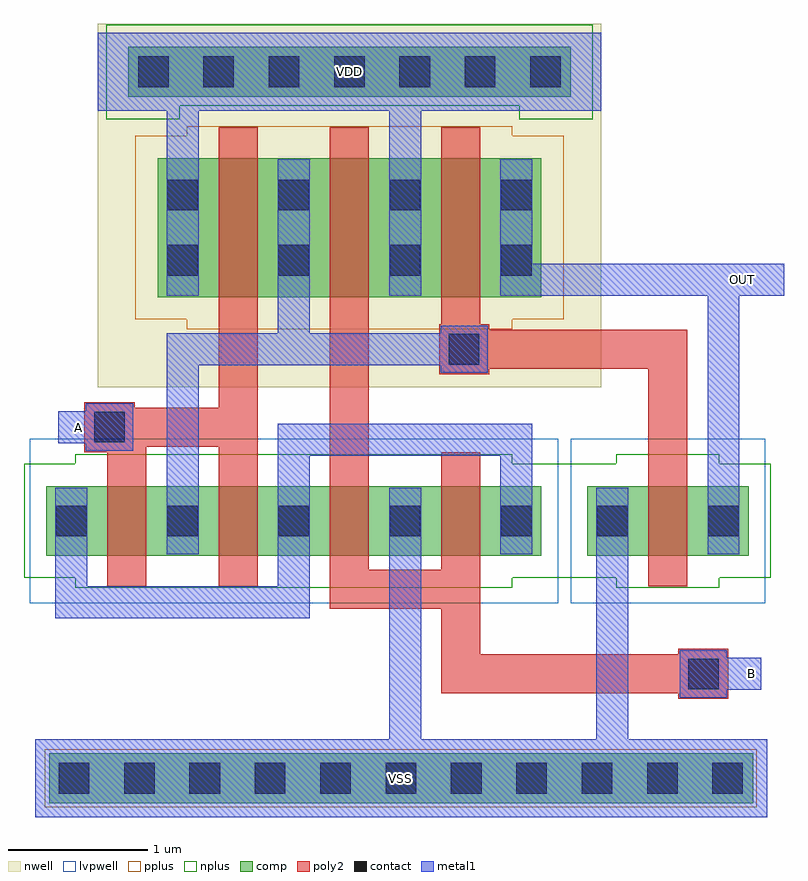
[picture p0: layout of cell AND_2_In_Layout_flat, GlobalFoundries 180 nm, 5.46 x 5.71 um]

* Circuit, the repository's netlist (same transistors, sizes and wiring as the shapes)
* NGSPICE file created from AND_2_In_Layout.ext - technology: gf180mcuC

.subckt nmos_3p3_GGGST2 a_n28_n94# a_n116_n50# a_28_n50# VSUBS
X0 a_28_n50# a_n28_n94# a_n116_n50# VSUBS nfet_03v3 ad=0.22p pd=1.88u as=0.22p ps=1.88u w=0.5u l=0.28u
.ends

.subckt pmos_3p3_MNVUAR w_n202_n230# a_28_n100# a_n28_n144# a_n116_n100#
X0 a_28_n100# a_n28_n144# a_n116_n100# w_n202_n230# pfet_03v3 ad=0.44p pd=2.88u as=0.44p ps=2.88u w=1u l=0.28u
.ends

.subckt nmos_3p3_BGGST2 a_n52_n50# a_n196_n50# a_52_n94# a_108_n50# a_n108_n94# VSUBS
X0 a_108_n50# a_52_n94# a_n52_n50# VSUBS nfet_03v3 ad=0.22p pd=1.88u as=0.13p ps=1.02u w=0.5u l=0.28u
X1 a_n52_n50# a_n108_n94# a_n196_n50# VSUBS nfet_03v3 ad=0.13p pd=1.02u as=0.22p ps=1.88u w=0.5u l=0.28u
.ends

**.subckt AND_2_In_Layout A B OUT VDD VSS
Xnmos_3p3_GGGST2_0 a_589_329# VSS OUT VSS nmos_3p3_GGGST2
Xpmos_3p3_MNVUAR_0 VDD OUT a_589_329# VDD pmos_3p3_MNVUAR
Xnmos_3p3_BGGST2_0 VSS m1_37_n22# B m1_37_n22# B VSS nmos_3p3_BGGST2
Xpmos_3p3_MNVUAR_1 VDD a_589_329# A VDD pmos_3p3_MNVUAR
Xnmos_3p3_BGGST2_1 a_589_329# m1_37_n22# A m1_37_n22# A VSS nmos_3p3_BGGST2
Xpmos_3p3_MNVUAR_2 VDD VDD B a_589_329# pmos_3p3_MNVUAR
**.ends

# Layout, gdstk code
import gdstk
lib = gdstk.Library(unit=1e-6, precision=1e-09)
def R(c, l, rs):  # rectangles x0, y0, x1, y1
    for r in rs: c.add(gdstk.rectangle(r[:2], r[2:], *l))
def A(c, l, x, y, w, h, nx, ny, dx, dy):  # array of equal rectangles
    R(c, l, [(x+i*dx, y+j*dy, x+i*dx+w, y+j*dy+h) for i in range(nx) for j in range(ny)])
nwell = (21, 0)
comp = (22, 0)
poly2 = (30, 0)
pplus = (31, 0)
nplus = (32, 0)
contact = (33, 0)
metal1 = (34, 0)
lvpwell = (204, 0)

and_2_in_layout_flat = lib.new_cell('AND_2_In_Layout_flat')
R(and_2_in_layout_flat, nwell, [(0.49,1.55,4.11,4.165)])
R(and_2_in_layout_flat, comp, [(0.14,-1.44,5.205,-1.08), (0.12,0.34,3.68,0.84), (4.01,0.34,5.17,0.84), (0.92,2.2,3.68,3.2), (0.71,3.64,3.89,4)])
R(and_2_in_layout_flat, poly2, [(4.665,-0.69,5.025,-0.65), (2.96,-0.65,5.025,-0.37), (2.96,-0.37,3.24,-0.04), (4.665,-0.37,5.025,-0.33), (2.16,-0.04,3.24,0.24), (0.56,0.12,0.84,1.085), (1.36,0.12,1.64,1.125), (4.45,0.12,4.73,1.685), (2.16,0.24,2.44,3.42), (2.96,0.24,3.24,1.085), (0.395,1.085,0.84,1.125), (0.395,1.125,1.64,1.405), (0.395,1.405,0.755,1.445), (1.36,1.405,1.64,3.42), (2.945,1.645,3.305,1.685), (2.945,1.685,4.73,1.965), (2.945,1.965,3.305,2.005), (2.96,2.005,3.24,3.42)])
R(and_2_in_layout_flat, pplus, [(0.11,-1.47,5.23,-1.05), (1.13,1.97,3.47,2.04), (0.76,2.04,3.84,3.36), (1.13,3.36,3.47,3.43)])
R(and_2_in_layout_flat, nplus, [(0.33,0.11,3.47,0.18), (4.22,0.11,4.96,0.18), (-0.04,0.18,5.33,1), (0.33,1,3.47,1.07), (4.22,1,4.96,1.07), (0.55,3.48,1.08,3.575), (3.52,3.48,4.05,3.575), (0.55,3.575,4.05,4.16)])
A(and_2_in_layout_flat, contact, 0.21, -1.37, 0.22, 0.22, 11, 1, 0.47, 0)
A(and_2_in_layout_flat, contact, 0.19, 0.48, 0.22, 0.22, 5, 1, 0.8, 0)
A(and_2_in_layout_flat, contact, 0.99, 2.355, 0.22, 0.22, 4, 2, 0.8, 0.47)
A(and_2_in_layout_flat, contact, 0.78, 3.71, 0.22, 0.22, 7, 1, 0.47, 0)
R(and_2_in_layout_flat, contact, [(4.735,-0.62,4.955,-0.4), (4.08,0.48,4.3,0.7), (4.88,0.48,5.1,0.7), (0.465,1.155,0.685,1.375), (3.015,1.715,3.235,1.935)])
R(and_2_in_layout_flat, metal1, [(0.04,-1.54,5.305,-0.98), (2.585,-0.98,2.815,0.83), (4.075,-0.98,4.305,0.83), (4.675,-0.68,5.015,-0.625), (4.675,-0.625,5.26,-0.395), (4.675,-0.395,5.015,-0.34), (0.185,-0.11,2.015,0.12), (0.185,0.12,0.415,0.83), (1.785,0.12,2.015,1.06), (0.985,0.35,1.215,1.71), (3.385,0.35,3.615,1.06), (4.875,0.35,5.105,2.21), (1.785,1.06,3.615,1.29), (0.405,1.095,0.745,1.15), (0.205,1.15,0.745,1.38), (0.405,1.38,0.745,1.435), (2.955,1.655,3.295,1.71), (0.985,1.71,3.295,1.94), (1.785,1.94,2.015,3.19), (2.955,1.94,3.295,1.995), (0.985,2.21,1.215,3.54), (2.585,2.21,2.815,3.54), (3.385,2.21,5.425,2.44), (3.385,2.44,3.615,3.19), (0.49,3.54,4.11,4.1)])
R(and_2_in_layout_flat, lvpwell, [(0,0,3.8,1.18), (3.89,0,5.29,1.18)])
and_2_in_layout_flat.add(gdstk.Label('A', (0.355,1.265), layer=34, texttype=10))
and_2_in_layout_flat.add(gdstk.Label('B', (5.19,-0.51), layer=34, texttype=10))
and_2_in_layout_flat.add(gdstk.Label('OUT', (5.125,2.325), layer=34, texttype=10))
and_2_in_layout_flat.add(gdstk.Label('VDD', (2.3,3.82), layer=22, texttype=0))
and_2_in_layout_flat.add(gdstk.Label('VSS', (2.67,-1.26), layer=22, texttype=0))

lib.write_gds('AND_2_In_Layout_flat.gds')
